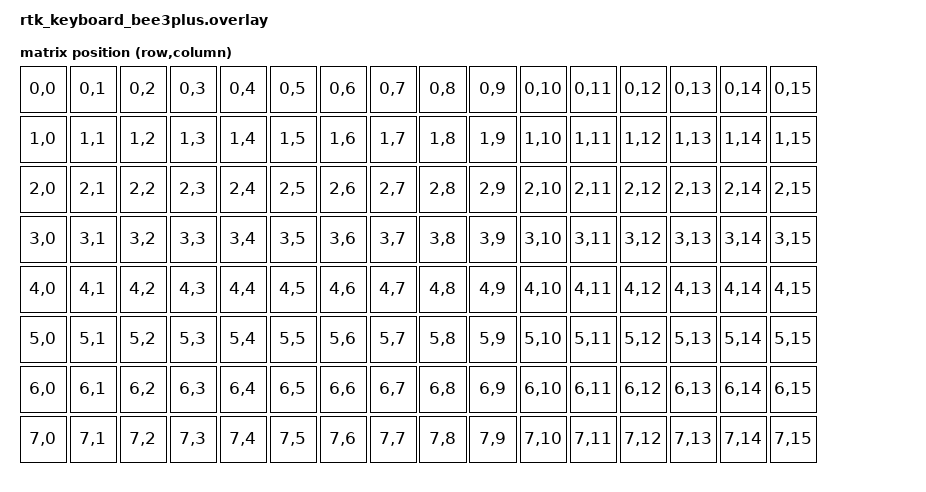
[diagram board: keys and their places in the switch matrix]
#include <dt-bindings/zmk/matrix_transform.h>
#include <dt-bindings/led/led.h>
#include <zephyr/dt-bindings/gpio/realtek-bee-gpio.h>

&gpio {
    status = "okay";
};

&timer5 {
    status = "okay";
};

&timer6 {
    status = "okay";
};

//&corewdt {
//    status = "disabled";
//    initial-timeout-ms = <5000>;
//};
//
//&aonwdt {
//    status = "okay";
//    initial-timeout-ms = <5000>;
//};
//
/// {
//    aliases {
//        watchdog = &aonwdt;
//    };
//};

&adc {
    pinctrl-0 = <&adc_default>;
    pinctrl-names = "default";
    #address-cells = <1>;
    #size-cells = <0>;
    status = "okay";
    is-bypass-mode = <0x4>;
    channel@2 {
        reg = <2>;
        zephyr,gain = "ADC_GAIN_1";
        zephyr,reference = "ADC_REF_INTERNAL";
        zephyr,acquisition-time = <ADC_ACQ_TIME_DEFAULT>;
        zephyr,resolution = <12>;
    };
};
/ {
    chosen {
        zmk,kscan = &kscan;
        zmk,matrix-transform = &default_transform;
        zmk,battery = &vbatt;
        //zmk,backlight = &backlight;
    };

    vbatt: vbatt {
        compatible = "zmk,battery-voltage-divider";
        io-channels = <&adc 2>;
        output-ohms = <100000>;
        full-ohms = <(100000 + 100000)>;
    };

//    battery_pwm_leds: pwmleds {
//        compatible = "pwm-leds";
//        pwm_led_0 {
//            pwms = <&pwm2 0 10000 PWM_POLARITY_INVERTED>;
//        };
//        pwm_led_1 {
//            pwms = <&pwm3 0 10000 PWM_POLARITY_INVERTED>;
//        };
//        pwm_led_2 {
//            pwms = <&pwm4 0 10000 PWM_POLARITY_INVERTED>;
//        };
//    };

//    mode_monitor: mode_monitor {
//        compatible = "zmk,mode-monitor-pin";
//        ble-gpios = <&gpioa 9 (GPIO_ACTIVE_HIGH | BEE_GPIO_INPUT_DEBOUNCE_MS(8))>;
//        ppt-gpios = <&gpioa 8 (GPIO_ACTIVE_HIGH | BEE_GPIO_INPUT_DEBOUNCE_MS(8))>;
//        detect-usb-gpios = <&gpiob 28 (GPIO_ACTIVE_HIGH | BEE_GPIO_INPUT_DEBOUNCE_MS(20))>;
//        win2mac-gpios = <&gpioa 31 (GPIO_ACTIVE_HIGH | BEE_GPIO_INPUT_DEBOUNCE_MS(8))>;
//        mptest-gpios = <&gpioa 25 GPIO_ACTIVE_HIGH>,
//                       <&gpioa 24 GPIO_ACTIVE_HIGH>;
//    };

//    gpio_leds: gpio_leds {
//        compatible = "zmk,gpio-leds-all";
//        pwr-gpios = <&gpiob 29 GPIO_ACTIVE_HIGH>;
//        cap-gpios = <&gpioa 28 GPIO_ACTIVE_HIGH>;
//        num-gpios = <&gpioa 16 GPIO_ACTIVE_HIGH>;
//        ble-gpios = <&gpioa 27 GPIO_ACTIVE_HIGH>;
//        ppt-gpios = <&gpioa 26 GPIO_ACTIVE_HIGH>;
//        other-gpios = <&gpioa 23 GPIO_ACTIVE_HIGH>;
//    };

    default_transform: matrix_transform {
        compatible = "zmk,matrix-transform";
        rows = <8>;
        columns = <16>;
        map = <
            RC(0,0) RC(0,1) RC(0,2) RC(0,3) RC(0,4) RC(0,5) RC(0,6) RC(0,7) RC(0,8) RC(0,9) RC(0,10) RC(0,11) RC(0,12) RC(0,13) RC(0,14) RC(0,15)
            RC(1,0) RC(1,1) RC(1,2) RC(1,3) RC(1,4) RC(1,5) RC(1,6) RC(1,7) RC(1,8) RC(1,9) RC(1,10) RC(1,11) RC(1,12) RC(1,13) RC(1,14) RC(1,15)
            RC(2,0) RC(2,1) RC(2,2) RC(2,3) RC(2,4) RC(2,5) RC(2,6) RC(2,7) RC(2,8) RC(2,9) RC(2,10) RC(2,11) RC(2,12) RC(2,13) RC(2,14) RC(2,15)
            RC(3,0) RC(3,1) RC(3,2) RC(3,3) RC(3,4) RC(3,5) RC(3,6) RC(3,7) RC(3,8) RC(3,9) RC(3,10) RC(3,11) RC(3,12) RC(3,13) RC(3,14) RC(3,15)
            RC(4,0) RC(4,1) RC(4,2) RC(4,3) RC(4,4) RC(4,5) RC(4,6) RC(4,7) RC(4,8) RC(4,9) RC(4,10) RC(4,11) RC(4,12) RC(4,13) RC(4,14) RC(4,15)
            RC(5,0) RC(5,1) RC(5,2) RC(5,3) RC(5,4) RC(5,5) RC(5,6) RC(5,7) RC(5,8) RC(5,9) RC(5,10) RC(5,11) RC(5,12) RC(5,13) RC(5,14) RC(5,15)
            RC(6,0) RC(6,1) RC(6,2) RC(6,3) RC(6,4) RC(6,5) RC(6,6) RC(6,7) RC(6,8) RC(6,9) RC(6,10) RC(6,11) RC(6,12) RC(6,13) RC(6,14) RC(6,15)
            RC(7,0) RC(7,1) RC(7,2) RC(7,3) RC(7,4) RC(7,5) RC(7,6) RC(7,7) RC(7,8) RC(7,9) RC(7,10) RC(7,11) RC(7,12) RC(7,13) RC(7,14) RC(7,15)
        >;
    };
 };

&kscan {
    pinctrl-0 = <&kscan_default>;
    pinctrl-1 = <&kscan_sleep>;
    pinctrl-names = "default", "sleep";
    row-size = <8>;
    col-size = <16>;
    debounce-time-us = <10000>;
    scan-time-us = <10000>;
    release-time-us = <10000>;
    scan-debounce-cnt = <1>;
    status = "okay";
};

&pinctrl {
    adc_default: adc_default {
        group1 {
             psels = <BEE_PSEL(SW_MODE, P2_2, DIR_IN, DRV_LOW, PULL_NONE)>;
        };
    };
    kscan_default: kscan_default {
        group1 {
            psels =
            <BEE_PSEL(KEY_COL_0,  P2_0, DIR_OUT, DRV_LOW, PULL_NONE)>,
            <BEE_PSEL(KEY_COL_1,  P2_1, DIR_OUT, DRV_LOW, PULL_NONE)>,
            <BEE_PSEL(KEY_COL_2,  P2_3, DIR_OUT, DRV_LOW, PULL_NONE)>,
            <BEE_PSEL(KEY_COL_3,  P2_4, DIR_OUT, DRV_LOW, PULL_NONE)>,
            <BEE_PSEL(KEY_COL_4,  P2_5, DIR_OUT, DRV_LOW, PULL_NONE)>,
            <BEE_PSEL(KEY_COL_5,  P2_6, DIR_OUT, DRV_LOW, PULL_NONE)>,
            <BEE_PSEL(KEY_COL_6,  P2_7, DIR_OUT, DRV_LOW, PULL_NONE)>,
            <BEE_PSEL(KEY_COL_7,  P3_2, DIR_OUT, DRV_LOW, PULL_NONE)>,
            <BEE_PSEL(KEY_COL_8,  P3_3, DIR_OUT, DRV_LOW, PULL_NONE)>,
            <BEE_PSEL(KEY_COL_9,  P3_4, DIR_OUT, DRV_LOW, PULL_NONE)>,
            <BEE_PSEL(KEY_COL_10, P3_5, DIR_OUT, DRV_LOW, PULL_NONE)>,
            <BEE_PSEL(KEY_COL_11, P3_6, DIR_OUT, DRV_LOW, PULL_NONE)>,
            <BEE_PSEL(KEY_COL_12, P4_0, DIR_OUT, DRV_LOW, PULL_NONE)>,
            <BEE_PSEL(KEY_COL_13, P4_1, DIR_OUT, DRV_LOW, PULL_NONE)>,
            <BEE_PSEL(KEY_COL_14, P4_2, DIR_OUT, DRV_LOW, PULL_NONE)>,
            <BEE_PSEL(KEY_COL_15, P4_3, DIR_OUT, DRV_LOW, PULL_NONE)>;
        };
        group2 {
            psels =
            <BEE_PSEL(KEY_ROW_0, P0_0, DIR_IN, DRV_LOW, PULL_UP)>,
            <BEE_PSEL(KEY_ROW_1, P0_1, DIR_IN, DRV_LOW, PULL_UP)>,
            <BEE_PSEL(KEY_ROW_2, P0_2, DIR_IN, DRV_LOW, PULL_UP)>,
            <BEE_PSEL(KEY_ROW_3, P0_4, DIR_IN, DRV_LOW, PULL_UP)>,
            <BEE_PSEL(KEY_ROW_4, P0_5, DIR_IN, DRV_LOW, PULL_UP)>,
            <BEE_PSEL(KEY_ROW_5, P0_6, DIR_IN, DRV_LOW, PULL_UP)>,
            <BEE_PSEL(KEY_ROW_6, P0_7, DIR_IN, DRV_LOW, PULL_UP)>,
            <BEE_PSEL(KEY_ROW_7, P1_7, DIR_IN, DRV_LOW, PULL_UP)>;
            bias-pull-strong;
        };
        };
    kscan_sleep: kscan_sleep {
        group1 {
            psels =
            <BEE_PSEL(SW_MODE, P2_0, DIR_OUT, DRV_LOW, PULL_DOWN)>,
            <BEE_PSEL(SW_MODE, P2_1, DIR_OUT, DRV_LOW, PULL_DOWN)>,
            <BEE_PSEL(SW_MODE, P2_3, DIR_OUT, DRV_LOW, PULL_DOWN)>,
            <BEE_PSEL(SW_MODE, P2_4, DIR_OUT, DRV_LOW, PULL_DOWN)>,
            <BEE_PSEL(SW_MODE, P2_5, DIR_OUT, DRV_LOW, PULL_DOWN)>,
            <BEE_PSEL(SW_MODE, P2_6, DIR_OUT, DRV_LOW, PULL_DOWN)>,
            <BEE_PSEL(SW_MODE, P2_7, DIR_OUT, DRV_LOW, PULL_DOWN)>,
            <BEE_PSEL(SW_MODE, P3_2, DIR_OUT, DRV_LOW, PULL_DOWN)>,
            <BEE_PSEL(SW_MODE, P3_3, DIR_OUT, DRV_LOW, PULL_DOWN)>,
            <BEE_PSEL(SW_MODE, P3_4, DIR_OUT, DRV_LOW, PULL_DOWN)>,
            <BEE_PSEL(SW_MODE, P3_5, DIR_OUT, DRV_LOW, PULL_DOWN)>,
            <BEE_PSEL(SW_MODE, P3_6, DIR_OUT, DRV_LOW, PULL_DOWN)>,
            <BEE_PSEL(SW_MODE, P4_0, DIR_OUT, DRV_LOW, PULL_DOWN)>,
            <BEE_PSEL(SW_MODE, P4_1, DIR_OUT, DRV_LOW, PULL_DOWN)>,
            <BEE_PSEL(SW_MODE, P4_2, DIR_OUT, DRV_LOW, PULL_DOWN)>,
            <BEE_PSEL(SW_MODE, P4_3, DIR_OUT, DRV_LOW, PULL_DOWN)>;
        };
        group2 {
            psels =
            <BEE_PSEL(SW_MODE, P0_0, DIR_IN, DRV_HIGH, PULL_UP)>,
            <BEE_PSEL(SW_MODE, P0_1, DIR_IN, DRV_HIGH, PULL_UP)>,
            <BEE_PSEL(SW_MODE, P0_2, DIR_IN, DRV_HIGH, PULL_UP)>,
            <BEE_PSEL(SW_MODE, P0_4, DIR_IN, DRV_HIGH, PULL_UP)>,
            <BEE_PSEL(SW_MODE, P0_5, DIR_IN, DRV_HIGH, PULL_UP)>,
            <BEE_PSEL(SW_MODE, P0_6, DIR_IN, DRV_HIGH, PULL_UP)>,
            <BEE_PSEL(SW_MODE, P0_7, DIR_IN, DRV_HIGH, PULL_UP)>,
            <BEE_PSEL(SW_MODE, P1_7, DIR_IN, DRV_HIGH, PULL_UP)>;
            bias-pull-strong;
            wakeup-low;
        };
        };
};
